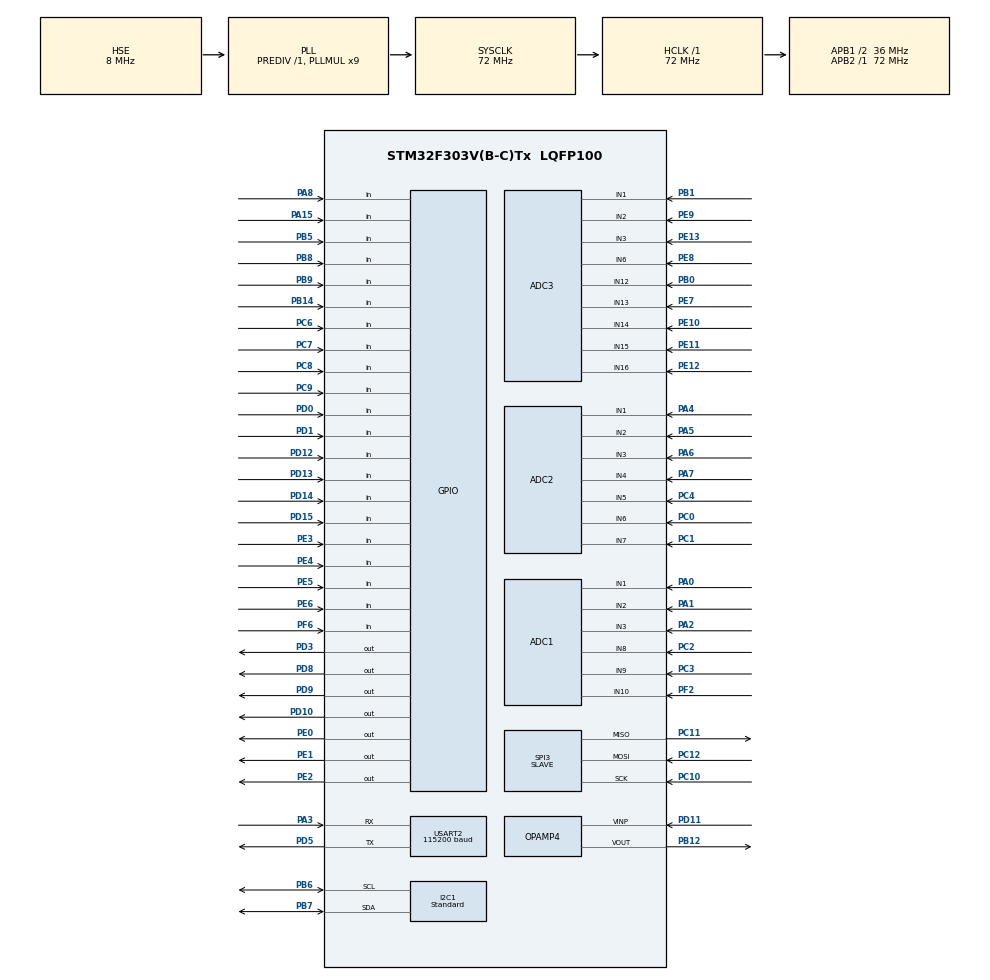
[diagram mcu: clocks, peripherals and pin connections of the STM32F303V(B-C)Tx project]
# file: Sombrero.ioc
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ADC1.Channel-3\#ChannelRegularConversion=ADC_CHANNEL_1
ADC1.NbrOfConversionFlag=1
ADC1.Offset-3\#ChannelRegularConversion=0
ADC1.OffsetNumber-3\#ChannelRegularConversion=ADC_OFFSET_NONE
ADC1.Rank-3\#ChannelRegularConversion=1
ADC1.SamplingTime-3\#ChannelRegularConversion=ADC_SAMPLETIME_1CYCLE_5
ADC1.master=1
ADC2.Channel-1\#ChannelRegularConversion=ADC_CHANNEL_1
ADC2.NbrOfConversionFlag=1
ADC2.Offset-1\#ChannelRegularConversion=0
ADC2.OffsetNumber-1\#ChannelRegularConversion=ADC_OFFSET_NONE
ADC2.Rank-1\#ChannelRegularConversion=1
ADC2.SamplingTime-1\#ChannelRegularConversion=ADC_SAMPLETIME_1CYCLE_5
ADC3.Channel-2\#ChannelRegularConversion=ADC_CHANNEL_2
ADC3.NbrOfConversionFlag=1
ADC3.Offset-2\#ChannelRegularConversion=0
ADC3.OffsetNumber-2\#ChannelRegularConversion=ADC_OFFSET_NONE
ADC3.Rank-2\#ChannelRegularConversion=1
ADC3.SamplingTime-2\#ChannelRegularConversion=ADC_SAMPLETIME_1CYCLE_5
ADC3.master=1
ADC4.Channel-2\#ChannelRegularConversion=ADC_CHANNEL_VOPAMP4
ADC4.NbrOfConversionFlag=1
ADC4.Offset-2\#ChannelRegularConversion=0
ADC4.OffsetNumber-2\#ChannelRegularConversion=ADC_OFFSET_NONE
ADC4.Rank-2\#ChannelRegularConversion=1
ADC4.SamplingTime-2\#ChannelRegularConversion=ADC_SAMPLETIME_1CYCLE_5
Dma.Request0=USART2_RX
Dma.USART2_RX.0.Direction=DMA_PERIPH_TO_MEMORY
Dma.USART2_RX.0.Instance=DMA1_Channel6
Dma.USART2_RX.0.MemDataAlignment=DMA_MDATAALIGN_BYTE
Dma.USART2_RX.0.MemInc=DMA_MINC_ENABLE
Dma.USART2_RX.0.Mode=DMA_NORMAL
Dma.USART2_RX.0.PeriphDataAlignment=DMA_PDATAALIGN_BYTE
Dma.USART2_RX.0.PeriphInc=DMA_PINC_DISABLE
Dma.USART2_RX.0.Priority=DMA_PRIORITY_LOW
I2C1.I2C_Speed_Mode=I2C_Standard
I2C1.Speed=50
I2C1.Timing=0x00101D7C
Mcu.Family=STM32F3
Mcu.Name=STM32F303V(B-C)Tx
Mcu.Package=LQFP100
NVIC.DMA1_Channel6_IRQn=true\:0\:0\:false\:false\:true\:false\:true
NVIC.PriorityGroup=NVIC_PRIORITYGROUP_4
NVIC.USART2_IRQn=true\:0\:0\:false\:false\:true\:true\:true
PA0.Mode=IN1-Single-Ended
PA0.Signal=ADC1_IN1
PA1.Mode=IN2-Single-Ended
PA1.Signal=ADC1_IN2
PA13.Mode=Serial_Wire
PA13.Signal=SYS_JTMS-SWDIO
PA14.Mode=Serial_Wire
PA14.Signal=SYS_JTCK-SWCLK
PA15.Signal=GPIO_Input
PA2.Mode=IN3-Single-Ended
PA2.Signal=ADC1_IN3
PA3.Mode=Asynchronous
PA3.Signal=USART2_RX
PA4.Mode=IN1-Single-Ended
PA4.Signal=ADC2_IN1
PA5.Mode=IN2-Single-Ended
PA5.Signal=ADC2_IN2
PA6.Mode=IN3-Single-Ended
PA6.Signal=ADC2_IN3
PA7.Mode=IN4-Single-Ended
PA7.Signal=ADC2_IN4
PA8.GPIO_Mode=GPIO_MODE_INPUT
PA8.GPIO_PuPd=GPIO_NOPULL
PA8.Signal=GPIO_Input
PB0.Mode=IN12-Single-Ended
PB0.Signal=ADC3_IN12
PB1.Mode=IN1-Single-Ended
PB1.Signal=ADC3_IN1
PB12.Mode=Follower
PB12.Signal=OPAMP4_VOUT
PB14.GPIO_Mode=GPIO_MODE_INPUT
PB14.GPIO_PuPd=GPIO_NOPULL
PB14.Signal=GPIO_Input
PB5.GPIO_Mode=GPIO_MODE_INPUT
PB5.GPIO_PuPd=GPIO_NOPULL
PB5.Signal=GPIO_Input
PB6.Mode=I2C
PB6.Signal=I2C1_SCL
PB7.Mode=I2C
PB7.Signal=I2C1_SDA
PB8.GPIO_Mode=GPIO_MODE_INPUT
PB8.GPIO_PuPd=GPIO_NOPULL
PB8.Signal=GPIO_Input
PB9.GPIO_Mode=GPIO_MODE_INPUT
PB9.GPIO_PuPd=GPIO_NOPULL
PB9.Signal=GPIO_Input
PC0.Signal=ADCx_IN6
PC1.Signal=ADCx_IN7
PC10.Mode=Full_Duplex_Slave
PC10.Signal=SPI3_SCK
PC11.Mode=Full_Duplex_Slave
PC11.Signal=SPI3_MISO
PC12.Mode=Full_Duplex_Slave
PC12.Signal=SPI3_MOSI
PC14-OSC32_IN.Mode=LSE-External-Oscillator
PC14-OSC32_IN.Signal=RCC_OSC32_IN
PC15-OSC32_OUT.Mode=LSE-External-Oscillator
PC15-OSC32_OUT.Signal=RCC_OSC32_OUT
PC2.Signal=ADCx_IN8
PC3.Signal=ADCx_IN9
PC4.Mode=IN5-Single-Ended
PC4.Signal=ADC2_IN5
PC6.GPIO_Mode=GPIO_MODE_INPUT
PC6.GPIO_PuPd=GPIO_NOPULL
PC6.Signal=GPIO_Input
PC7.GPIO_Mode=GPIO_MODE_INPUT
PC7.GPIO_PuPd=GPIO_NOPULL
PC7.Signal=GPIO_Input
PC8.GPIO_Mode=GPIO_MODE_INPUT
PC8.GPIO_PuPd=GPIO_NOPULL
PC8.Signal=GPIO_Input
PC9.GPIO_Mode=GPIO_MODE_INPUT
PC9.GPIO_PuPd=GPIO_NOPULL
PC9.Signal=GPIO_Input
PD0.Signal=GPIO_Input
PD1.Signal=GPIO_Input
PD10.GPIO_ModeDefaultOutputPP=GPIO_MODE_OUTPUT_PP
PD10.GPIO_PuPd=GPIO_NOPULL
PD10.GPIO_Speed=GPIO_SPEED_FREQ_LOW
PD10.PinState=GPIO_PIN_RESET
PD10.Signal=GPIO_Output
PD11.Mode=Follower
PD11.Signal=OPAMP4_VINP
PD12.GPIO_Mode=GPIO_MODE_INPUT
PD12.GPIO_PuPd=GPIO_NOPULL
PD12.Signal=GPIO_Input
PD13.GPIO_Mode=GPIO_MODE_INPUT
PD13.GPIO_PuPd=GPIO_NOPULL
PD13.Signal=GPIO_Input
PD14.GPIO_Mode=GPIO_MODE_INPUT
PD14.GPIO_PuPd=GPIO_NOPULL
PD14.Signal=GPIO_Input
PD15.GPIO_Mode=GPIO_MODE_INPUT
PD15.GPIO_PuPd=GPIO_NOPULL
PD15.Signal=GPIO_Input
PD3.Signal=GPIO_Output
PD5.Mode=Asynchronous
PD5.Signal=USART2_TX
PD8.GPIO_ModeDefaultOutputPP=GPIO_MODE_OUTPUT_PP
PD8.GPIO_PuPd=GPIO_NOPULL
PD8.GPIO_Speed=GPIO_SPEED_FREQ_LOW
PD8.PinState=GPIO_PIN_RESET
PD8.Signal=GPIO_Output
PD9.GPIO_ModeDefaultOutputPP=GPIO_MODE_OUTPUT_PP
PD9.GPIO_PuPd=GPIO_NOPULL
PD9.GPIO_Speed=GPIO_SPEED_FREQ_LOW
PD9.PinState=GPIO_PIN_RESET
PD9.Signal=GPIO_Output
PE0.GPIO_ModeDefaultOutputPP=GPIO_MODE_OUTPUT_PP
PE0.GPIO_PuPd=GPIO_NOPULL
PE0.GPIO_Speed=GPIO_SPEED_FREQ_LOW
PE0.PinState=GPIO_PIN_RESET
PE0.Signal=GPIO_Output
PE1.GPIO_ModeDefaultOutputPP=GPIO_MODE_OUTPUT_PP
PE1.GPIO_PuPd=GPIO_NOPULL
PE1.GPIO_Speed=GPIO_SPEED_FREQ_LOW
PE1.PinState=GPIO_PIN_RESET
PE1.Signal=GPIO_Output
PE10.Mode=IN14-Single-Ended
PE10.Signal=ADC3_IN14
PE11.Mode=IN15-Single-Ended
PE11.Signal=ADC3_IN15
PE12.Mode=IN16-Single-Ended
PE12.Signal=ADC3_IN16
PE13.Mode=IN3-Single-Ended
PE13.Signal=ADC3_IN3
PE2.GPIO_ModeDefaultOutputPP=GPIO_MODE_OUTPUT_PP
PE2.GPIO_PuPd=GPIO_NOPULL
PE2.GPIO_Speed=GPIO_SPEED_FREQ_LOW
PE2.PinState=GPIO_PIN_RESET
PE2.Signal=GPIO_Output
PE3.GPIO_Mode=GPIO_MODE_INPUT
PE3.GPIO_PuPd=GPIO_NOPULL
PE3.Signal=GPIO_Input
PE4.GPIO_Mode=GPIO_MODE_INPUT
PE4.GPIO_PuPd=GPIO_NOPULL
PE4.Signal=GPIO_Input
PE5.GPIO_Mode=GPIO_MODE_INPUT
PE5.GPIO_PuPd=GPIO_NOPULL
PE5.Signal=GPIO_Input
PE6.GPIO_Mode=GPIO_MODE_INPUT
PE6.GPIO_PuPd=GPIO_NOPULL
PE6.Signal=GPIO_Input
PE7.Mode=IN13-Single-Ended
PE7.Signal=ADC3_IN13
PE8.Signal=ADCx_IN6P
PE9.Mode=IN2-Single-Ended
PE9.Signal=ADC3_IN2
PF0-OSC_IN.Mode=HSE-External-Oscillator
PF0-OSC_IN.Signal=RCC_OSC_IN
PF1-OSC_OUT.Mode=HSE-External-Oscillator
PF1-OSC_OUT.Signal=RCC_OSC_OUT
PF2.Signal=ADCx_IN10
PF6.Signal=GPIO_Input
ProjectManager.HeapSize=0x200
ProjectManager.StackSize=0x400
ProjectManager.TargetToolchain=Makefile
RCC.ADC12PRES=RCC_ADC12PLLCLK_DIV4
RCC.ADC34PRES=RCC_ADC34PLLCLK_DIV4
RCC.AHBFreq_Value=72000000
RCC.APB1CLKDivider=RCC_HCLK_DIV2
RCC.APB1Freq_Value=36000000
RCC.APB1TimFreq_Value=72000000
RCC.APB2Freq_Value=72000000
RCC.APB2TimFreq_Value=72000000
RCC.CortexFreq_Value=72000000
RCC.HCLKFreq_Value=72000000
RCC.HSE_VALUE=8000000
RCC.HSI_VALUE=8000000
RCC.PLLMUL=RCC_PLL_MUL9
RCC.PLLSourceVirtual=RCC_PLLSOURCE_HSE
RCC.PREFETCH_ENABLE=1
RCC.SYSCLKFreq_VALUE=72000000
RCC.SYSCLKSourceVirtual=RCC_SYSCLKSOURCE_PLLCLK
RCC.USBFreq_Value=72000000
RCC.Usart1ClockSelection=RCC_USART1CLKSOURCE_SYSCLK
RCC.Usart2ClockSelection=RCC_USART2CLKSOURCE_SYSCLK
RCC.Usart3ClockSelection=RCC_USART3CLKSOURCE_SYSCLK
SH.ADCx_IN10.0=ADC1_IN10,IN10-Single-Ended
SH.ADCx_IN6.0=ADC2_IN6,IN6-Single-Ended
SH.ADCx_IN6P.0=ADC3_IN6,IN6-Single-Ended
SH.ADCx_IN7.0=ADC2_IN7,IN7-Single-Ended
SH.ADCx_IN8.0=ADC1_IN8,IN8-Single-Ended
SH.ADCx_IN9.0=ADC1_IN9,IN9-Single-Ended
SPI3.DataSize=SPI_DATASIZE_8BIT
SPI3.Direction=SPI_DIRECTION_2LINES
SPI3.Mode=SPI_MODE_SLAVE
SPI3.VirtualType=VM_SLAVE
USART2.BaudRate=115200
USART2.VirtualMode-Asynchronous=VM_ASYNC
VP_ADC4_OPAMP_INTERNAL4.Mode=IN-OPAMP4
board=custom

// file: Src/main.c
/* USER CODE BEGIN Header */
/**
  ******************************************************************************
  * @file           : main.c
  * @brief          : Main program body
  ******************************************************************************
  * @attention
  *
  * <h2><center>&copy; Copyright (c) 2019 STMicroelectronics.
  * All rights reserved.</center></h2>
  *
  * This software component is licensed by ST under BSD 3-Clause license,
  * the "License"; You may not use this file except in compliance with the
  * License. You may obtain a copy of the License at:
  *                        opensource.org/licenses/BSD-3-Clause
  *
  ******************************************************************************
  */
/* USER CODE END Header */

#include "main.h"
#include "adc.h"
#include "dma.h"
#include "i2c.h"
#include "opamp.h"
#include "spi.h"
#include "usart.h"
#include "gpio.h"

/* USER CODE BEGIN PV */
volatile uint32_t currentMillis = 0;
volatile uint32_t previousMillis = 0;
volatile uint32_t interval[5] = {0}; // array for different intervals, just in case.

volatile uint8_t rx_buff[150];
volatile char rx_string[150];
volatile int rx_flag;
/* USER CODE END PV */

void SystemClock_Config(void);

int main(void)
{
  /* USER CODE BEGIN 1 */
  interval[0] = 2000;
  /* USER CODE END 1 */

  /* MCU Configuration--------------------------------------------------------*/

  /* Reset of all peripherals, Initializes the Flash interface and the Systick. */
  HAL_Init();

  /* Configure the system clock */
  SystemClock_Config();

  /* Initialize all configured peripherals */
  MX_GPIO_Init();
  MX_DMA_Init();
  MX_ADC1_Init();
  MX_ADC2_Init();
  MX_ADC3_Init();
  MX_ADC4_Init();
  MX_I2C1_Init();
  MX_OPAMP4_Init();
  MX_USART2_UART_Init();
  MX_SPI3_Init();
  /* USER CODE BEGIN 2 */
  // enable IDLE flag interrupt. this will trigger UART interrupt handler in the event the host stop transmitting.
  __HAL_UART_ENABLE_IT(&huart2, UART_IT_IDLE);
  // this initialises the UART Rx DMA. UART is now listening and received data will load directly to buffer.
  HAL_UART_Receive_DMA(&huart2, rx_buff, sizeof(rx_buff));
  /* USER CODE END 2 */

  /* Infinite loop */
  /* USER CODE BEGIN WHILE */
  while (1)
  {
    // if the IDLE flag interrupt has been trigger, this flag should be set to indicate the Rx buffer has data.
    if (rx_flag)
    {
      uint32_t currentMillis1 = HAL_GetTick(); // debug
      memcpy(rx_string, rx_buff, sizeof(rx_buff));
      memset(rx_buff,0,sizeof(rx_buff));
      huart2.hdmarx->Instance->CCR &= ~DMA_CCR_EN;
      huart2.hdmarx->Instance->CNDTR = sizeof(rx_buff);
      huart2.hdmarx->Instance->CCR |= DMA_CCR_EN;
      rx_flag = 0;
      uint32_t currentMillis2 = HAL_GetTick(); // debug
        // debug
      uint32_t millis_taken = currentMillis2 - currentMillis1;
      sprintf(log_buffer, "rx_string: %s\r\n", rx_string);
      debug_printf(log_buffer);
      sprintf(log_buffer, "millis_taken: %d\r\n", millis_taken);
      debug_printf(log_buffer);

    }

    // print the millis since boot every interval.
    currentMillis = HAL_GetTick();
    if (currentMillis - previousMillis >= interval[0])
    {
      previousMillis = currentMillis;
      sprintf(log_buffer, "millis: %ld\r\n", currentMillis);
      debug_printf(log_buffer);
    }
    /* USER CODE END WHILE */

  }
}

void SystemClock_Config(void)
{
  RCC_OscInitTypeDef RCC_OscInitStruct = {0};
  RCC_ClkInitTypeDef RCC_ClkInitStruct = {0};
  RCC_PeriphCLKInitTypeDef PeriphClkInit = {0};

  /** Initializes the CPU, AHB and APB busses clocks
  */
  RCC_OscInitStruct.OscillatorType = RCC_OSCILLATORTYPE_HSI | RCC_OSCILLATORTYPE_HSE;
  RCC_OscInitStruct.HSEState = RCC_HSE_ON;
  RCC_OscInitStruct.HSEPredivValue = RCC_HSE_PREDIV_DIV1;
  RCC_OscInitStruct.HSIState = RCC_HSI_ON;
  RCC_OscInitStruct.HSICalibrationValue = RCC_HSICALIBRATION_DEFAULT;
  RCC_OscInitStruct.PLL.PLLState = RCC_PLL_ON;
  RCC_OscInitStruct.PLL.PLLSource = RCC_PLLSOURCE_HSE;
  RCC_OscInitStruct.PLL.PLLMUL = RCC_PLL_MUL9;
  if (HAL_RCC_OscConfig(&RCC_OscInitStruct) != HAL_OK)
  {
    Error_Handler();
  }
  /** Initializes the CPU, AHB and APB busses clocks
  */
  RCC_ClkInitStruct.ClockType = RCC_CLOCKTYPE_HCLK | RCC_CLOCKTYPE_SYSCLK | RCC_CLOCKTYPE_PCLK1 | RCC_CLOCKTYPE_PCLK2;
  RCC_ClkInitStruct.SYSCLKSource = RCC_SYSCLKSOURCE_PLLCLK;
  RCC_ClkInitStruct.AHBCLKDivider = RCC_SYSCLK_DIV1;
  RCC_ClkInitStruct.APB1CLKDivider = RCC_HCLK_DIV2;
  RCC_ClkInitStruct.APB2CLKDivider = RCC_HCLK_DIV1;

  if (HAL_RCC_ClockConfig(&RCC_ClkInitStruct, FLASH_LATENCY_2) != HAL_OK)
  {
    Error_Handler();
  }
  PeriphClkInit.PeriphClockSelection = RCC_PERIPHCLK_USART2 | RCC_PERIPHCLK_I2C1 | RCC_PERIPHCLK_ADC12 | RCC_PERIPHCLK_ADC34;
  PeriphClkInit.Usart2ClockSelection = RCC_USART2CLKSOURCE_SYSCLK;
  PeriphClkInit.Adc12ClockSelection = RCC_ADC12PLLCLK_DIV4;
  PeriphClkInit.Adc34ClockSelection = RCC_ADC34PLLCLK_DIV4;
  PeriphClkInit.I2c1ClockSelection = RCC_I2C1CLKSOURCE_HSI;
  if (HAL_RCCEx_PeriphCLKConfig(&PeriphClkInit) != HAL_OK)
  {
    Error_Handler();
  }
}

/* USER CODE BEGIN 4 */
/*
void command_breaker(void)
{
  uint8_t code;
  uint8_t key;
  uint8_t property;
  uint8_t value;
}
*/
/* USER CODE END 4 */

void Error_Handler(void)
{
}

/************************ (C) COPYRIGHT STMicroelectronics *****END OF FILE****/
